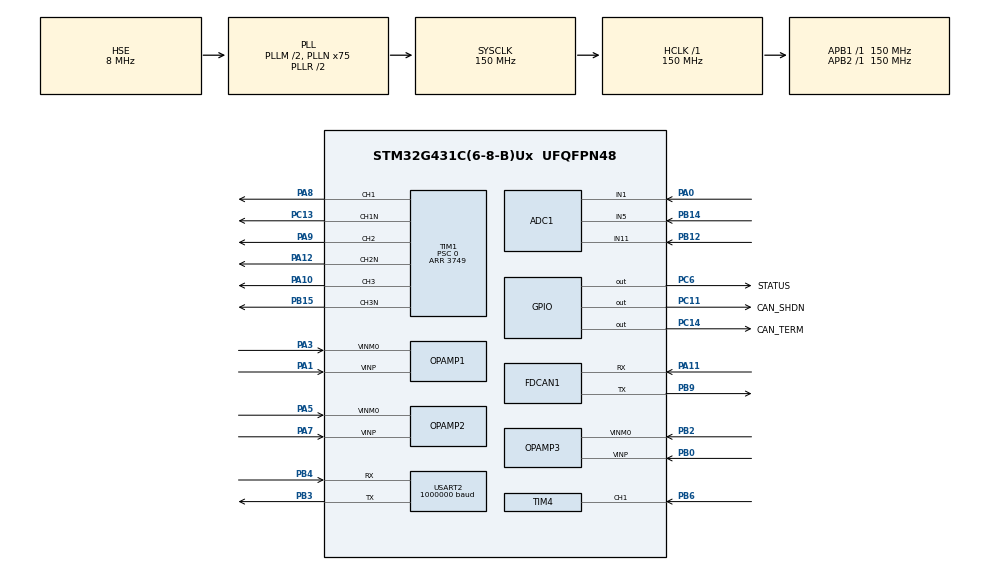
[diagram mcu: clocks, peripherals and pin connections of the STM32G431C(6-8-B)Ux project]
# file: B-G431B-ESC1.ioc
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ADC1.Channel-0\#ChannelRegularConversion=ADC_CHANNEL_VOPAMP1
ADC1.Channel-1\#ChannelRegularConversion=ADC_CHANNEL_VOPAMP1
ADC1.Channel-2\#ChannelRegularConversion=ADC_CHANNEL_11
ADC1.Channel-3\#ChannelRegularConversion=ADC_CHANNEL_1
ADC1.Channel-4\#ChannelRegularConversion=ADC_CHANNEL_5
ADC1.EOCSelection=ADC_EOC_SEQ_CONV
ADC1.ExternalTrigConv=ADC_EXTERNALTRIG_T1_TRGO
ADC1.NbrOfConversion=5
ADC1.NbrOfConversionFlag=1
ADC1.OffsetNumber-0\#ChannelRegularConversion=ADC_OFFSET_NONE
ADC1.OffsetNumber-1\#ChannelRegularConversion=ADC_OFFSET_NONE
ADC1.OffsetNumber-2\#ChannelRegularConversion=ADC_OFFSET_NONE
ADC1.OffsetNumber-3\#ChannelRegularConversion=ADC_OFFSET_NONE
ADC1.OffsetNumber-4\#ChannelRegularConversion=ADC_OFFSET_NONE
ADC1.Overrun=ADC_OVR_DATA_OVERWRITTEN
ADC1.Rank-0\#ChannelRegularConversion=1
ADC1.Rank-1\#ChannelRegularConversion=2
ADC1.Rank-2\#ChannelRegularConversion=3
ADC1.Rank-3\#ChannelRegularConversion=4
ADC1.Rank-4\#ChannelRegularConversion=5
ADC1.SamplingTime-0\#ChannelRegularConversion=ADC_SAMPLETIME_2CYCLES_5
ADC1.SamplingTime-1\#ChannelRegularConversion=ADC_SAMPLETIME_2CYCLES_5
ADC1.SamplingTime-2\#ChannelRegularConversion=ADC_SAMPLETIME_2CYCLES_5
ADC1.SamplingTime-3\#ChannelRegularConversion=ADC_SAMPLETIME_2CYCLES_5
ADC1.SamplingTime-4\#ChannelRegularConversion=ADC_SAMPLETIME_2CYCLES_5
ADC1.master=1
ADC2.Channel-0\#ChannelRegularConversion=ADC_CHANNEL_VOPAMP2
ADC2.Channel-1\#ChannelRegularConversion=ADC_CHANNEL_VOPAMP2
ADC2.Channel-2\#ChannelRegularConversion=ADC_CHANNEL_VOPAMP3_ADC2
ADC2.EOCSelection=ADC_EOC_SEQ_CONV
ADC2.ExternalTrigConv=ADC_EXTERNALTRIG_T1_TRGO
ADC2.NbrOfConversion=3
ADC2.NbrOfConversionFlag=1
ADC2.OffsetNumber-0\#ChannelRegularConversion=ADC_OFFSET_NONE
ADC2.OffsetNumber-1\#ChannelRegularConversion=ADC_OFFSET_NONE
ADC2.OffsetNumber-2\#ChannelRegularConversion=ADC_OFFSET_NONE
ADC2.Overrun=ADC_OVR_DATA_OVERWRITTEN
ADC2.Rank-0\#ChannelRegularConversion=1
ADC2.Rank-1\#ChannelRegularConversion=2
ADC2.Rank-2\#ChannelRegularConversion=3
ADC2.SamplingTime-0\#ChannelRegularConversion=ADC_SAMPLETIME_2CYCLES_5
ADC2.SamplingTime-1\#ChannelRegularConversion=ADC_SAMPLETIME_2CYCLES_5
ADC2.SamplingTime-2\#ChannelRegularConversion=ADC_SAMPLETIME_2CYCLES_5
Dma.ADC1.2.Direction=DMA_PERIPH_TO_MEMORY
Dma.ADC1.2.EventEnable=DISABLE
Dma.ADC1.2.Instance=DMA1_Channel3
Dma.ADC1.2.MemDataAlignment=DMA_MDATAALIGN_HALFWORD
Dma.ADC1.2.MemInc=DMA_MINC_ENABLE
Dma.ADC1.2.Mode=DMA_CIRCULAR
Dma.ADC1.2.PeriphDataAlignment=DMA_PDATAALIGN_HALFWORD
Dma.ADC1.2.PeriphInc=DMA_PINC_DISABLE
Dma.ADC1.2.Polarity=HAL_DMAMUX_REQ_GEN_RISING
Dma.ADC1.2.Priority=DMA_PRIORITY_LOW
Dma.ADC1.2.RequestNumber=1
Dma.ADC1.2.SignalID=NONE
Dma.ADC1.2.SyncEnable=DISABLE
Dma.ADC1.2.SyncPolarity=HAL_DMAMUX_SYNC_NO_EVENT
Dma.ADC1.2.SyncRequestNumber=1
Dma.ADC1.2.SyncSignalID=NONE
Dma.ADC2.3.Direction=DMA_PERIPH_TO_MEMORY
Dma.ADC2.3.EventEnable=DISABLE
Dma.ADC2.3.Instance=DMA1_Channel4
Dma.ADC2.3.MemDataAlignment=DMA_MDATAALIGN_HALFWORD
Dma.ADC2.3.MemInc=DMA_MINC_ENABLE
Dma.ADC2.3.Mode=DMA_CIRCULAR
Dma.ADC2.3.PeriphDataAlignment=DMA_PDATAALIGN_HALFWORD
Dma.ADC2.3.PeriphInc=DMA_PINC_DISABLE
Dma.ADC2.3.Polarity=HAL_DMAMUX_REQ_GEN_RISING
Dma.ADC2.3.Priority=DMA_PRIORITY_LOW
Dma.ADC2.3.RequestNumber=1
Dma.ADC2.3.SignalID=NONE
Dma.ADC2.3.SyncEnable=DISABLE
Dma.ADC2.3.SyncPolarity=HAL_DMAMUX_SYNC_NO_EVENT
Dma.ADC2.3.SyncRequestNumber=1
Dma.ADC2.3.SyncSignalID=NONE
Dma.Request0=USART2_RX
Dma.Request1=USART2_TX
Dma.Request2=ADC1
Dma.Request3=ADC2
Dma.USART2_RX.0.Direction=DMA_PERIPH_TO_MEMORY
Dma.USART2_RX.0.EventEnable=DISABLE
Dma.USART2_RX.0.Instance=DMA1_Channel1
Dma.USART2_RX.0.MemDataAlignment=DMA_MDATAALIGN_BYTE
Dma.USART2_RX.0.MemInc=DMA_MINC_ENABLE
Dma.USART2_RX.0.Mode=DMA_CIRCULAR
Dma.USART2_RX.0.PeriphDataAlignment=DMA_PDATAALIGN_BYTE
Dma.USART2_RX.0.PeriphInc=DMA_PINC_DISABLE
Dma.USART2_RX.0.Polarity=HAL_DMAMUX_REQ_GEN_RISING
Dma.USART2_RX.0.Priority=DMA_PRIORITY_LOW
Dma.USART2_RX.0.RequestNumber=1
Dma.USART2_RX.0.SignalID=NONE
Dma.USART2_RX.0.SyncEnable=DISABLE
Dma.USART2_RX.0.SyncPolarity=HAL_DMAMUX_SYNC_NO_EVENT
Dma.USART2_RX.0.SyncRequestNumber=1
Dma.USART2_RX.0.SyncSignalID=NONE
Dma.USART2_TX.1.Direction=DMA_MEMORY_TO_PERIPH
Dma.USART2_TX.1.EventEnable=DISABLE
Dma.USART2_TX.1.Instance=DMA1_Channel2
Dma.USART2_TX.1.MemDataAlignment=DMA_MDATAALIGN_BYTE
Dma.USART2_TX.1.MemInc=DMA_MINC_ENABLE
Dma.USART2_TX.1.Mode=DMA_NORMAL
Dma.USART2_TX.1.PeriphDataAlignment=DMA_PDATAALIGN_BYTE
Dma.USART2_TX.1.PeriphInc=DMA_PINC_DISABLE
Dma.USART2_TX.1.Polarity=HAL_DMAMUX_REQ_GEN_RISING
Dma.USART2_TX.1.Priority=DMA_PRIORITY_LOW
Dma.USART2_TX.1.RequestNumber=1
Dma.USART2_TX.1.SignalID=NONE
Dma.USART2_TX.1.SyncEnable=DISABLE
Dma.USART2_TX.1.SyncPolarity=HAL_DMAMUX_SYNC_NO_EVENT
Dma.USART2_TX.1.SyncRequestNumber=1
Dma.USART2_TX.1.SyncSignalID=NONE
Mcu.Family=STM32G4
Mcu.Name=STM32G431C(6-8-B)Ux
Mcu.Package=UFQFPN48
NVIC.ADC1_2_IRQn=true\:0\:0\:false\:false\:true\:true\:true
NVIC.CORDIC_IRQn=true\:0\:0\:false\:false\:true\:true\:true
NVIC.DMA1_Channel1_IRQn=true\:0\:0\:false\:false\:true\:false\:true
NVIC.DMA1_Channel2_IRQn=true\:0\:0\:false\:false\:true\:false\:true
NVIC.DMA1_Channel3_IRQn=true\:0\:0\:false\:false\:true\:false\:true
NVIC.DMA1_Channel4_IRQn=true\:0\:0\:false\:false\:true\:false\:true
NVIC.PriorityGroup=NVIC_PRIORITYGROUP_4
NVIC.TIM4_IRQn=true\:0\:0\:true\:false\:true\:true\:true
NVIC.USART2_IRQn=true\:0\:0\:false\:false\:true\:true\:true
OPAMP1.PgaGain=OPAMP_PGA_GAIN_16_OR_MINUS_15
OPAMP2.PgaGain=OPAMP_PGA_GAIN_16_OR_MINUS_15
OPAMP3.PgaGain=OPAMP_PGA_GAIN_16_OR_MINUS_15
PA0.Mode=IN1-Single-Ended
PA0.Signal=ADC1_IN1
PA1.Mode=PGA Internally connected_IO0_BIAS
PA1.Signal=OPAMP1_VINP
PA10.Signal=S_TIM1_CH3
PA11.Mode=FDCAN_Activate
PA11.Signal=FDCAN1_RX
PA12.Mode=PWM Generation2 CH2 CH2N
PA12.Signal=TIM1_CH2N
PA13.Mode=Serial_Wire
PA13.Signal=SYS_JTMS-SWDIO
PA14.Mode=Serial_Wire
PA14.Signal=SYS_JTCK-SWCLK
PA3.Mode=PGA Internally connected_IO0_BIAS
PA3.Signal=OPAMP1_VINM0
PA5.Mode=PGA Internally connected_IO0_BIAS
PA5.Signal=OPAMP2_VINM0
PA7.Mode=PGA Internally connected_IO0_BIAS
PA7.Signal=OPAMP2_VINP
PA8.Signal=S_TIM1_CH1
PA9.Signal=S_TIM1_CH2
PB0.Mode=PGA Internally connected_IO0_BIAS
PB0.Signal=OPAMP3_VINP
PB12.Mode=IN11-Single-Ended
PB12.Signal=ADC1_IN11
PB14.Mode=IN5-Single-Ended
PB14.Signal=ADC1_IN5
PB15.Mode=PWM Generation3 CH3 CH3N
PB15.Signal=TIM1_CH3N
PB2.Mode=PGA Internally connected_IO0_BIAS
PB2.Signal=OPAMP3_VINM0
PB3.Mode=Asynchronous
PB3.Signal=USART2_TX
PB4.Mode=Asynchronous
PB4.Signal=USART2_RX
PB6.Signal=S_TIM4_CH1
PB9.Mode=FDCAN_Activate
PB9.Signal=FDCAN1_TX
PC11.GPIO_Label=CAN_SHDN
PC11.Signal=GPIO_Output
PC13.Mode=PWM Generation1 CH1 CH1N
PC13.Signal=TIM1_CH1N
PC14-OSC32_IN.GPIO_Label=CAN_TERM
PC14-OSC32_IN.Signal=GPIO_Output
PC6.GPIO_Label=STATUS
PC6.Signal=GPIO_Output
PF0-OSC_IN.Mode=HSE-External-Oscillator
PF0-OSC_IN.Signal=RCC_OSC_IN
PF1-OSC_OUT.Mode=HSE-External-Oscillator
PF1-OSC_OUT.Signal=RCC_OSC_OUT
ProjectManager.HeapSize=0x200
ProjectManager.StackSize=0x400
ProjectManager.TargetToolchain=STM32CubeIDE
RCC.ADC12Freq_Value=150000000
RCC.AHBFreq_Value=150000000
RCC.APB1Freq_Value=150000000
RCC.APB1TimFreq_Value=150000000
RCC.APB2Freq_Value=150000000
RCC.APB2TimFreq_Value=150000000
RCC.CortexFreq_Value=150000000
RCC.EXTERNAL_CLOCK_VALUE=12288000
RCC.HCLKFreq_Value=150000000
RCC.HSE_VALUE=8000000
RCC.HSI48_VALUE=48000000
RCC.HSI_VALUE=16000000
RCC.LSE_VALUE=32768
RCC.PLLM=RCC_PLLM_DIV2
RCC.PLLN=75
RCC.PLLSourceVirtual=RCC_PLLSOURCE_HSE
RCC.SYSCLKFreq_VALUE=150000000
RCC.SYSCLKSource=RCC_SYSCLKSOURCE_PLLCLK
RCC.USBFreq_Value=150000000
RCC.VCOOutputFreq_Value=300000000
SH.S_TIM1_CH1.0=TIM1_CH1,PWM Generation1 CH1 CH1N
SH.S_TIM1_CH2.0=TIM1_CH2,PWM Generation2 CH2 CH2N
SH.S_TIM1_CH3.0=TIM1_CH3,PWM Generation3 CH3 CH3N
SH.S_TIM4_CH1.0=TIM4_CH1,PWM_Input_1
TIM1.Channel-PWM\ Generation1\ CH1\ CH1N=TIM_CHANNEL_1
TIM1.Channel-PWM\ Generation2\ CH2\ CH2N=TIM_CHANNEL_2
TIM1.Channel-PWM\ Generation3\ CH3\ CH3N=TIM_CHANNEL_3
TIM1.CounterMode=TIM_COUNTERMODE_CENTERALIGNED1
TIM1.DeadTime=128
TIM1.PeriodNoDither=3749
TIM1.Prescaler=0
TIM1.TIM_MasterOutputTrigger=TIM_TRGO_UPDATE
TIM4.ICPolarity_1=TIM_INPUTCHANNELPOLARITY_RISING
TIM4.Prescaler=2
TIM6.Prescaler=149
USART2.BaudRate=1000000
USART2.VirtualMode-Asynchronous=VM_ASYNC
VP_ADC1_OPAMP_INTERNAL1.Mode=IN-OPAMP1
VP_ADC2_OPAMP_INTERNAL2.Mode=IN-OPAMP2
VP_ADC2_OPAMP_INTERNAL3.Mode=IN-OPAMP3
VP_CORDIC_VS_CORDIC.Mode=CORDIC_Activate
VP_SYS_VS_DBSignals.Mode=DisableDeadBatterySignals
VP_TIM1_VS_ClockSourceINT.Mode=Internal
VP_TIM6_VS_ClockSourceINT.Mode=Enable_Timer
board=custom

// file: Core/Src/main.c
/* USER CODE BEGIN Header */
/**
  ******************************************************************************
  * @file           : main.c
  * @brief          : Main program body
  ******************************************************************************
  * @attention
  *
  * <h2><center>&copy; Copyright (c) 2021 STMicroelectronics.
  * All rights reserved.</center></h2>
  *
  * This software component is licensed by ST under BSD 3-Clause license,
  * the "License"; You may not use this file except in compliance with the
  * License. You may obtain a copy of the License at:
  *                        opensource.org/licenses/BSD-3-Clause
  *
  ******************************************************************************
  */
/* USER CODE END Header */
#include "main.h"

/* USER CODE BEGIN Includes */
#include "serial.h"
#include "position_sensor.h"
#include "foc.h"
#include "math_tool.h"
#include "pid.h"
#include "eeprom.h"
#include "protocol.h"
#include "control_table.h"
#include "binary_tool.h"

/* USER CODE END Includes */

/* USER CODE BEGIN PD */
#define ALPHA_VELOCITY				0.24f // (default:0.12) F = 1000Hz ==> Fc (-3dB) = 20Hz
#define ALPHA_CURRENT_SETPOINT 		0.48f // (default:0.12) F = 1000Hz ==> Fc (-3dB) = 20Hz

/* USER CODE END PD */

ADC_HandleTypeDef hadc1;
ADC_HandleTypeDef hadc2;
DMA_HandleTypeDef hdma_adc1;
DMA_HandleTypeDef hdma_adc2;

CORDIC_HandleTypeDef hcordic;

FDCAN_HandleTypeDef hfdcan1;

OPAMP_HandleTypeDef hopamp1;
OPAMP_HandleTypeDef hopamp2;
OPAMP_HandleTypeDef hopamp3;

TIM_HandleTypeDef htim1;
TIM_HandleTypeDef htim4;
TIM_HandleTypeDef htim6;

UART_HandleTypeDef huart2;
DMA_HandleTypeDef hdma_usart2_rx;
DMA_HandleTypeDef hdma_usart2_tx;

/* USER CODE BEGIN PV */
HAL_Serial_Handler serial;

extern float potentiometer_input_adc; // foc.c
extern float average_processing_time; // foc.c
extern float present_voltage_V; // foc.c
extern float present_temperature_C; // foc.c

/* USER CODE END PV */

void SystemClock_Config(void);
static void MX_GPIO_Init(void);
static void MX_DMA_Init(void);
static void MX_TIM4_Init(void);
static void MX_USART2_UART_Init(void);
static void MX_TIM1_Init(void);
static void MX_ADC1_Init(void);
static void MX_ADC2_Init(void);
static void MX_OPAMP1_Init(void);
static void MX_OPAMP2_Init(void);
static void MX_OPAMP3_Init(void);
static void MX_CORDIC_Init(void);
static void MX_TIM6_Init(void);
static void MX_FDCAN1_Init(void);

/* USER CODE BEGIN 0 */
void HAL_TIM_IC_CaptureCallback(TIM_HandleTypeDef *htim)
{
	API_AS5048A_Position_Sensor_It(htim);
}

// current sense
// TODO: add OC4 with short pulse to start ADC en OC4 EVENT, a little time before UPDATE
void HAL_ADC_ConvCpltCallback(ADC_HandleTypeDef *hadc)
{
	API_FOC_It(hadc);
}

/* USER CODE END 0 */

int main(void)
{

  /* MCU Configuration--------------------------------------------------------*/

  /* Reset of all peripherals, Initializes the Flash interface and the Systick. */
  HAL_Init();

  /* Configure the system clock */
  SystemClock_Config();

  /* Initialize all configured peripherals */
  MX_GPIO_Init();
  MX_DMA_Init();
  MX_TIM4_Init();
  MX_USART2_UART_Init();
  MX_TIM1_Init();
  MX_ADC1_Init();
  MX_ADC2_Init();
  MX_OPAMP1_Init();
  MX_OPAMP2_Init();
  MX_OPAMP3_Init();
  MX_CORDIC_Init();
  MX_TIM6_Init();
  MX_FDCAN1_Init();
  /* USER CODE BEGIN 2 */
  HAL_TIM_Base_Start(&htim6); // 1us base timer
  uint16_t present_time_us = __HAL_TIM_GET_COUNTER(&htim6);
  uint16_t last_time_us = present_time_us;
  API_FOC_Init();
  HAL_Serial_Init(&huart2,&serial);
  HAL_Serial_Print(&serial,"RESET!\n");
	if(eeprom_empty())
		factory_reset_eeprom_regs();
	load_eeprom_regs();
	reset_ram_regs();
  //API_FOC_Calibrate();
  /* USER CODE END 2 */

  /* Infinite loop */
  /* USER CODE BEGIN WHILE */
	float setpoint_position_deg = 0.0f;
	float setpoint_velocity_dps = 0.0f;
	float setpoint_torque_current_mA = 0.0f;
	float setpoint_flux_current_mA = 0.0f;
	uint16_t last_mode = regs[REG_CONTROL_MODE];
	pid_context_t pid_velocity;
	pid_context_t pid_position;
	pid_reset(&pid_position);
	pid_reset(&pid_velocity);

  while (1)
  {
    /* USER CODE END WHILE */

    /* USER CODE BEGIN 3 */
	// Handle communication
	while(HAL_Serial_Available(&serial))
	{
	  char c = HAL_Serial_GetChar(&serial);
	  packet_handler(c);
	}

	// 1Khz low priority process
	#define MAIN_LOO_PERIOD_US 900
	present_time_us = __HAL_TIM_GET_COUNTER(&htim6);
	int16_t const delta_time_us = present_time_us-last_time_us;
	if(delta_time_us>=MAIN_LOO_PERIOD_US)
	{
		last_time_us+=MAIN_LOO_PERIOD_US;
		// make alias
		uint16_t const reg_control_mode = regs[REG_CONTROL_MODE];
		// process operating mode
		switch(reg_control_mode)
		{
		case REG_CONTROL_MODE_POSITION_VELOCITY_TORQUE_VELOCITY_PROFIL:
			if(last_mode!=REG_CONTROL_MODE_POSITION_VELOCITY_TORQUE_VELOCITY_PROFIL)
			{
				// nop
			}
			{
				//float const goal_position_deg = (int16_t)(MAKE_SHORT(regs[REG_GOAL_POSITION_DEG_L],regs[REG_GOAL_POSITION_DEG_H]));
				setpoint_position_deg = 0.0f;
				setpoint_velocity_dps = 0.0f;
				setpoint_torque_current_mA=0.0f;
				setpoint_flux_current_mA=0.0f;
			}
			break;
		case REG_CONTROL_MODE_POSITION_VELOCITY_TORQUE:
			if(last_mode!=REG_CONTROL_MODE_POSITION_VELOCITY_TORQUE)
			{
				pid_reset(&pid_position);
				pid_reset(&pid_velocity);
				// copy EEPROM to RAM
				regs[REG_GOAL_VELOCITY_DPS_L] = regs[REG_MAX_VELOCITY_DPS_L];
				regs[REG_GOAL_VELOCITY_DPS_H] = regs[REG_MAX_VELOCITY_DPS_H];
				regs[REG_GOAL_TORQUE_CURRENT_MA_L] = regs[REG_MAX_CURRENT_MA_L];
				regs[REG_GOAL_TORQUE_CURRENT_MA_H] = regs[REG_MAX_CURRENT_MA_H];
				// reset unused RAM
				regs[REG_GOAL_FLUX_CURRENT_MA_L] = 0;
				regs[REG_GOAL_FLUX_CURRENT_MA_H] = 0;
				// set goal to current position to avoid glicth
				regs[REG_GOAL_POSITION_DEG_L] = LOW_BYTE((int16_t)(10.0f*RADIANS_TO_DEGREES(API_AS5048A_Position_Sensor_Get_Multiturn_Radians())));
				regs[REG_GOAL_POSITION_DEG_H] = HIGH_BYTE((int16_t)(10.0f*RADIANS_TO_DEGREES(API_AS5048A_Position_Sensor_Get_Multiturn_Radians())));
				// reset filtered setpoint
				setpoint_velocity_dps = 0.0f;
				setpoint_torque_current_mA = 0.0f;
			}
			{
				// compute position setpoint from goal and EEPROM velocity limit
				float const goal_position_deg = (float)((int16_t)(MAKE_SHORT(regs[REG_GOAL_POSITION_DEG_L],regs[REG_GOAL_POSITION_DEG_H])))/10.0f;
				float const reg_min_position_deg = (float)((int16_t)(MAKE_SHORT(regs[REG_MIN_POSITION_DEG_L],regs[REG_MIN_POSITION_DEG_H])));
				float const reg_max_position_deg = (float)((int16_t)(MAKE_SHORT(regs[REG_MAX_POSITION_DEG_L],regs[REG_MAX_POSITION_DEG_H])));
				setpoint_position_deg = fconstrain(goal_position_deg,reg_min_position_deg,reg_max_position_deg);
				// compute positiony error
				float const error_position_deg = setpoint_position_deg-RADIANS_TO_DEGREES(API_AS5048A_Position_Sensor_Get_Multiturn_Radians());
				// compute velocity setpoint using PID position and EEPROM velocity limit
				float const goal_velocity_dps = (int16_t)(MAKE_SHORT(regs[REG_GOAL_VELOCITY_DPS_L],regs[REG_GOAL_VELOCITY_DPS_H]));
				float const reg_max_velocity_dps = (uint16_t)(MAKE_SHORT(regs[REG_MAX_VELOCITY_DPS_L],regs[REG_MAX_VELOCITY_DPS_H]));
				setpoint_velocity_dps = ALPHA_VELOCITY*pid_process_antiwindup_clamp_with_ff(
						&pid_position,
						error_position_deg,
						(float)((int16_t)(MAKE_SHORT(regs[REG_PID_POSITION_KP_L],regs[REG_PID_POSITION_KP_H])))/1.0f,
						(float)((int16_t)(MAKE_SHORT(regs[REG_PID_POSITION_KI_L],regs[REG_PID_POSITION_KI_H])))/100.0f,
						(float)((int16_t)(MAKE_SHORT(regs[REG_PID_POSITION_KD_L],regs[REG_PID_POSITION_KD_H])))/1.0f,
						fminf(goal_velocity_dps,reg_max_velocity_dps), // limit is the lowest limit from goal and EEPROM
						0.1f,// ALPHA D
						0.0f // FF
				) + (1.0f-ALPHA_VELOCITY)*setpoint_velocity_dps;
				// compute velocity error
				float const error_velocity_dps = setpoint_velocity_dps-API_FOC_Get_Present_Velocity();
				// compute torque current setpoint using PID velocity, current is limited bt goal current and EEPROM current limit
				float const goal_torque_current_mA=(int16_t)(MAKE_SHORT(regs[REG_GOAL_TORQUE_CURRENT_MA_L],regs[REG_GOAL_TORQUE_CURRENT_MA_H]));
				float const reg_max_current_ma = (uint16_t)(MAKE_SHORT(regs[REG_MAX_CURRENT_MA_L],regs[REG_MAX_CURRENT_MA_H]));
				float const reg_reverse_current = regs[REG_INV_CURRENT_MOTOR] == 0 ? 1.0f : -1.0f;
				setpoint_torque_current_mA = ALPHA_CURRENT_SETPOINT*reg_reverse_current*pid_process_antiwindup_clamp_with_ff(
						&pid_velocity,
						error_velocity_dps,
						(float)((int16_t)(MAKE_SHORT(regs[REG_PID_VELOCITY_KP_L],regs[REG_PID_VELOCITY_KP_H])))/1000.0f,
						(float)((int16_t)(MAKE_SHORT(regs[REG_PID_VELOCITY_KI_L],regs[REG_PID_VELOCITY_KI_H])))/100000.0f,
						(float)((int16_t)(MAKE_SHORT(regs[REG_PID_VELOCITY_KD_L],regs[REG_PID_VELOCITY_KD_H])))/1000.0f,
						fminf(goal_torque_current_mA,reg_max_current_ma), // current limit is the lowest limit from goal and EEPROM
						0.1f,// ALPHA D
						setpoint_velocity_dps*(float)((int16_t)(MAKE_SHORT(regs[REG_PID_VELOCITY_KFF_L],regs[REG_PID_VELOCITY_KFF_H])))/1000.0f
				) + (1.0f-ALPHA_CURRENT_SETPOINT)*setpoint_torque_current_mA;
				// in this operating mode, flux current is forced to 0
				setpoint_flux_current_mA=0.0f;
			}
			break;
		case REG_CONTROL_MODE_VELOCITY_TORQUE:
			if(last_mode!=REG_CONTROL_MODE_VELOCITY_TORQUE)
			{
				pid_reset(&pid_velocity);
				// copy EEPROM to RAM
				regs[REG_GOAL_TORQUE_CURRENT_MA_L] = regs[REG_MAX_CURRENT_MA_L];
				regs[REG_GOAL_TORQUE_CURRENT_MA_H] = regs[REG_MAX_CURRENT_MA_H];
				// reset unused RAM
				regs[REG_GOAL_FLUX_CURRENT_MA_L] = 0;
				regs[REG_GOAL_FLUX_CURRENT_MA_H] = 0;
				regs[REG_GOAL_POSITION_DEG_L] = 0;
				regs[REG_GOAL_POSITION_DEG_H] = 0;
				// reset goal to avoid glicth
				regs[REG_GOAL_VELOCITY_DPS_L] = 0;
				regs[REG_GOAL_VELOCITY_DPS_H] = 0;
				// reset filtered setpoint
				setpoint_torque_current_mA = 0.0f;
			}
			{
				setpoint_position_deg = 0.0f;
				// compute velocity setpoint from goal and EEPROM velocity limit
				float const goal_velocity_dps = (int16_t)(MAKE_SHORT(regs[REG_GOAL_VELOCITY_DPS_L],regs[REG_GOAL_VELOCITY_DPS_H]));
				float const reg_max_velocity_dps = (uint16_t)(MAKE_SHORT(regs[REG_MAX_VELOCITY_DPS_L],regs[REG_MAX_VELOCITY_DPS_H]));
				setpoint_velocity_dps = fconstrain(goal_velocity_dps,-reg_max_velocity_dps,reg_max_velocity_dps);
				// compute velocity error
				float const error_velocity_dps = setpoint_velocity_dps-API_FOC_Get_Present_Velocity();
				// compute torque current setpoint using PID velocity, current is limited bt goal current and EEPROM current limit
				float const goal_torque_current_mA=(int16_t)(MAKE_SHORT(regs[REG_GOAL_TORQUE_CURRENT_MA_L],regs[REG_GOAL_TORQUE_CURRENT_MA_H]));
				float const reg_max_current_ma = (uint16_t)(MAKE_SHORT(regs[REG_MAX_CURRENT_MA_L],regs[REG_MAX_CURRENT_MA_H]));
				float const reg_reverse_current = regs[REG_INV_CURRENT_MOTOR] == 0 ? 1.0f : -1.0f;
				setpoint_torque_current_mA = ALPHA_CURRENT_SETPOINT*reg_reverse_current*pid_process_antiwindup_clamp_with_ff(
						&pid_velocity,
						error_velocity_dps,
						(float)((int16_t)(MAKE_SHORT(regs[REG_PID_VELOCITY_KP_L],regs[REG_PID_VELOCITY_KP_H])))/1000.0f,
						(float)((int16_t)(MAKE_SHORT(regs[REG_PID_VELOCITY_KI_L],regs[REG_PID_VELOCITY_KI_H])))/100000.0f,
						(float)((int16_t)(MAKE_SHORT(regs[REG_PID_VELOCITY_KD_L],regs[REG_PID_VELOCITY_KD_H])))/1000.0f,
						fminf(goal_torque_current_mA,reg_max_current_ma), // current limit is the lowest limit from goal and EEPROM
						0.1f,// ALPHA D
						setpoint_velocity_dps*(float)((int16_t)(MAKE_SHORT(regs[REG_PID_VELOCITY_KFF_L],regs[REG_PID_VELOCITY_KFF_H])))/1000.0f
				) + (1.0f-ALPHA_CURRENT_SETPOINT)*setpoint_torque_current_mA;
				// in this operating mode, flux current is forced to 0
				setpoint_flux_current_mA=0.0f;
			}
			break;
		case REG_CONTROL_MODE_TORQUE:
			if(last_mode!=REG_CONTROL_MODE_TORQUE)
			{
				// reset unused RAM
				regs[REG_GOAL_POSITION_DEG_L] = 0;
				regs[REG_GOAL_POSITION_DEG_H] = 0;
				regs[REG_GOAL_VELOCITY_DPS_L] = 0;
				regs[REG_GOAL_VELOCITY_DPS_H] = 0;
				// reset goal to avoid glicth
				regs[REG_GOAL_TORQUE_CURRENT_MA_L] = 0;
				regs[REG_GOAL_TORQUE_CURRENT_MA_H] = 0;
				regs[REG_GOAL_FLUX_CURRENT_MA_L] = 0;
				regs[REG_GOAL_FLUX_CURRENT_MA_H] = 0;
			}
			{
				setpoint_position_deg = 0.0f;
				setpoint_velocity_dps = 0.0f;
				// compute flux & torque current setpoints, from goals and EEPROM current limit
				float const goal_torque_current_mA=(int16_t)(MAKE_SHORT(regs[REG_GOAL_TORQUE_CURRENT_MA_L],regs[REG_GOAL_TORQUE_CURRENT_MA_H]));
				float const goal_flux_current_mA=(int16_t)(MAKE_SHORT(regs[REG_GOAL_FLUX_CURRENT_MA_L],regs[REG_GOAL_FLUX_CURRENT_MA_H]));
				float const reg_max_current_ma = (uint16_t)(MAKE_SHORT(regs[REG_MAX_CURRENT_MA_L],regs[REG_MAX_CURRENT_MA_H]));
				setpoint_flux_current_mA = fconstrain(goal_flux_current_mA,-reg_max_current_ma,reg_max_current_ma);
				setpoint_torque_current_mA = fconstrain(goal_torque_current_mA,-reg_max_current_ma,reg_max_current_ma);
			}
			break;
		case REG_CONTROL_MODE_VELOCITY_TORQUE_OPEN_LOOP:
			{
				if(last_mode!=REG_CONTROL_MODE_VELOCITY_TORQUE_OPEN_LOOP)
				{
					// reset unused RAM
					regs[REG_GOAL_POSITION_DEG_L] = 0;
					regs[REG_GOAL_POSITION_DEG_H] = 0;
					regs[REG_GOAL_TORQUE_CURRENT_MA_L] = 0;
					regs[REG_GOAL_TORQUE_CURRENT_MA_H] = 0;
					// reset goal to avoid glicth
					regs[REG_GOAL_VELOCITY_DPS_L] = 0;
					regs[REG_GOAL_VELOCITY_DPS_H] = 0;
					regs[REG_GOAL_FLUX_CURRENT_MA_L] = 0;
					regs[REG_GOAL_FLUX_CURRENT_MA_H] = 0;
				}
				setpoint_velocity_dps = (int16_t)(MAKE_SHORT(regs[REG_GOAL_VELOCITY_DPS_L],regs[REG_GOAL_VELOCITY_DPS_H]));
				setpoint_flux_current_mA = (int16_t)(MAKE_SHORT(regs[REG_GOAL_FLUX_CURRENT_MA_L],regs[REG_GOAL_FLUX_CURRENT_MA_H]));
			}
			break;
		default:
			// reset unused RAM
			regs[REG_GOAL_POSITION_DEG_L] = 0;
			regs[REG_GOAL_POSITION_DEG_H] = 0;
			regs[REG_GOAL_VELOCITY_DPS_L] = 0;
			regs[REG_GOAL_VELOCITY_DPS_H] = 0;
			regs[REG_GOAL_TORQUE_CURRENT_MA_L] = 0;
			regs[REG_GOAL_TORQUE_CURRENT_MA_H] = 0;
			regs[REG_GOAL_FLUX_CURRENT_MA_L] = 0;
			regs[REG_GOAL_FLUX_CURRENT_MA_H] = 0;
			// reset all setpoints
			setpoint_position_deg = 0.0f;
			setpoint_velocity_dps = 0.0f;
			setpoint_torque_current_mA=0.0f;
			setpoint_flux_current_mA=0.0f;
			break;
		}
		last_mode = reg_control_mode;
		// PERFORMANCE
		//uint16_t t_end = __HAL_TIM_GET_COUNTER(&htim6);

		// RAM Update
		regs[REG_PRESENT_POSITION_DEG_L] = LOW_BYTE((int16_t)(RADIANS_TO_DEGREES(API_AS5048A_Position_Sensor_Get_Multiturn_Radians())*10.0f));
		regs[REG_PRESENT_POSITION_DEG_H] = HIGH_BYTE((int16_t)(RADIANS_TO_DEGREES(API_AS5048A_Position_Sensor_Get_Multiturn_Radians())*10.0f));
		regs[REG_PRESENT_VELOCITY_DPS_L] = LOW_BYTE((int16_t)(API_AS5048A_Position_Sensor_Get_DPS()*1.0f));
		regs[REG_PRESENT_VELOCITY_DPS_H] = HIGH_BYTE((int16_t)(API_AS5048A_Position_Sensor_Get_DPS()*1.0f));
		regs[REG_PRESENT_TORQUE_CURRENT_MA_L] = LOW_BYTE((int16_t)(API_FOC_Get_Present_Torque_Current()*1.0f));
		regs[REG_PRESENT_TORQUE_CURRENT_MA_H] = HIGH_BYTE((int16_t)(API_FOC_Get_Present_Torque_Current()*1.0f));
		regs[REG_PRESENT_FLUX_CURRENT_MA_L] = LOW_BYTE((int16_t)(API_FOC_Get_Present_Flux_Current()*1.0f));
		regs[REG_PRESENT_FLUX_CURRENT_MA_H] = HIGH_BYTE((int16_t)(API_FOC_Get_Present_Flux_Current()*1.0f));
		regs[REG_PRESENT_VOLTAGE] = (uint16_t)(present_voltage_V);
		regs[REG_PRESENT_TEMPERATURE] = (uint16_t)(present_temperature_C);
		regs[REG_MOVING] = (uint16_t)(fabsf(API_AS5048A_Position_Sensor_Get_DPS())) > (uint16_t)(regs[REG_MOVING_THRESHOLD_DPS]) ? 1 : 0;

		// DEBUG RAM Update
		regs[REG_SETPOINT_POSITION_DEG_L] = LOW_BYTE((int16_t)(setpoint_position_deg*10.0f));
		regs[REG_SETPOINT_POSITION_DEG_H] = HIGH_BYTE((int16_t)(setpoint_position_deg*10.0f));
		regs[REG_SETPOINT_VELOCITY_DPS_L] = LOW_BYTE((int16_t)(setpoint_velocity_dps*1.0f));
		regs[REG_SETPOINT_VELOCITY_DPS_H] = HIGH_BYTE((int16_t)(setpoint_velocity_dps*1.0f));
		regs[REG_SETPOINT_TORQUE_CURRENT_MA_L] = LOW_BYTE((int16_t)(setpoint_torque_current_mA*1.0f));
		regs[REG_SETPOINT_TORQUE_CURRENT_MA_H] = HIGH_BYTE((int16_t)(setpoint_torque_current_mA*1.0f));
		regs[REG_SETPOINT_FLUX_CURRENT_MA_L] = LOW_BYTE((int16_t)(setpoint_flux_current_mA*1.0f));
		regs[REG_SETPOINT_FLUX_CURRENT_MA_H] = HIGH_BYTE((int16_t)(setpoint_flux_current_mA*1.0f));
		regs[REG_PROCESSING_TIME] = (uint8_t)(average_processing_time);

		// TRACE
		static uint32_t counter = 0;
		if(((++counter)%4)==0)
		{
//		  HAL_GPIO_TogglePin(STATUS_GPIO_Port, STATUS_Pin);
//			HAL_Serial_Print(&serial,"%d %d %d\n",
//					(int)(RADIANS_TO_DEGREES(API_AS5048A_Position_Sensor_Get_Radians())),
//					(int)(RADIANS_TO_DEGREES(API_AS5048A_Position_Sensor_Get_Multiturn_Radians())),
//					(int)(API_AS5048A_Position_Sensor_Get_DPS())
//				);
//		  			HAL_Serial_Print(&serial,"%d %d %d %d %d\n",
//		  					(int)(RADIANS_TO_DEGREES(API_AS5048A_Position_Sensor_Get_Radians())),
//							//(int)(RADIANS_TO_DEGREES(API_AS5048A_Position_Sensor_Get_Multiturn_Radians())),
//							(int)(API_AS5048A_Position_Sensor_Get_DPS()),
//							(int)(API_AS5048A_Position_Sensor_Get_DeltaTimestamp()),
//							(int)(RADIANS_TO_DEGREES(API_AS5048A_Position_Sensor_Get_DeltaRad()*1000)),
//							(int)(API_AS5048A_Position_Sensor_Error_Counter())
//						);
//			HAL_Serial_Print(&serial,"%d %d %d %d\n",
//					(int)(setpoint_velocity_dps),
//					(int)(API_FOC_Get_Present_Velocity()),
//					(int)(setpoint_torque_current_mA),
//					(int)(sqrtf(API_FOC_Get_Present_Current_SQ()))
//				);
//			HAL_Serial_Print(&serial,"%d %d %d %d\n",
//						(int)(setpoint_position_deg),
//						(int)(RADIANS_TO_DEGREES(API_AS5048A_Position_Sensor_Get_Multiturn_Radians())),
//						(int)(setpoint_velocity_dps),
//						(int)(setpoint_torque_current_mA)
//					);
//			HAL_Serial_Print(&serial,"%d %d %d\n",
//						(int)(setpoint_velocity_dps),
//						(int)(API_FOC_Get_Present_Velocity()),
//						(int)(setpoint_torque_current_mA)
//					);
//			HAL_Serial_Print(&serial,"%d %d %d\n",
//						(int)(setpoint_torque_current_mA),
//						(int)(API_FOC_Get_Present_Torque_Current()),
//						(int)(API_FOC_Get_Present_Flux_Current())
//					);
		}
	}
	// synchro adjustment
	float const phase_synchro_offset_rad = DEGREES_TO_RADIANS((float)(MAKE_SHORT(regs[REG_GOAL_SYNCHRO_OFFSET_L],regs[REG_GOAL_SYNCHRO_OFFSET_H])));
	// FOC update (every 250us when current drop rate is set to 4)
	if(regs[REG_CONTROL_MODE]==REG_CONTROL_MODE_VELOCITY_TORQUE_OPEN_LOOP)
	{
		API_FOC_Update_Torque_Open_Loop(
			present_time_us,
			setpoint_velocity_dps,
			setpoint_flux_current_mA
		);
	}
	else
	{
		API_FOC_Update_Torque_Closed_Loop(
			present_time_us,
			setpoint_torque_current_mA,
			setpoint_flux_current_mA,
			phase_synchro_offset_rad,
			regs[REG_GOAL_CLOSED_LOOP] // open loop if 0, closed loop if 1
		);
	}
  }
  /* USER CODE END 3 */
}

void SystemClock_Config(void)
{
  RCC_OscInitTypeDef RCC_OscInitStruct = {0};
  RCC_ClkInitTypeDef RCC_ClkInitStruct = {0};
  RCC_PeriphCLKInitTypeDef PeriphClkInit = {0};

  /** Configure the main internal regulator output voltage
  */
  HAL_PWREx_ControlVoltageScaling(PWR_REGULATOR_VOLTAGE_SCALE1);
  /** Initializes the RCC Oscillators according to the specified parameters
  * in the RCC_OscInitTypeDef structure.
  */
  RCC_OscInitStruct.OscillatorType = RCC_OSCILLATORTYPE_HSE;
  RCC_OscInitStruct.HSEState = RCC_HSE_ON;
  RCC_OscInitStruct.PLL.PLLState = RCC_PLL_ON;
  RCC_OscInitStruct.PLL.PLLSource = RCC_PLLSOURCE_HSE;
  RCC_OscInitStruct.PLL.PLLM = RCC_PLLM_DIV2;
  RCC_OscInitStruct.PLL.PLLN = 75;
  RCC_OscInitStruct.PLL.PLLP = RCC_PLLP_DIV2;
  RCC_OscInitStruct.PLL.PLLQ = RCC_PLLQ_DIV2;
  RCC_OscInitStruct.PLL.PLLR = RCC_PLLR_DIV2;
  if (HAL_RCC_OscConfig(&RCC_OscInitStruct) != HAL_OK)
  {
    Error_Handler();
  }
  /** Initializes the CPU, AHB and APB buses clocks
  */
  RCC_ClkInitStruct.ClockType = RCC_CLOCKTYPE_HCLK|RCC_CLOCKTYPE_SYSCLK
                              |RCC_CLOCKTYPE_PCLK1|RCC_CLOCKTYPE_PCLK2;
  RCC_ClkInitStruct.SYSCLKSource = RCC_SYSCLKSOURCE_PLLCLK;
  RCC_ClkInitStruct.AHBCLKDivider = RCC_SYSCLK_DIV1;
  RCC_ClkInitStruct.APB1CLKDivider = RCC_HCLK_DIV1;
  RCC_ClkInitStruct.APB2CLKDivider = RCC_HCLK_DIV1;

  if (HAL_RCC_ClockConfig(&RCC_ClkInitStruct, FLASH_LATENCY_4) != HAL_OK)
  {
    Error_Handler();
  }
  /** Initializes the peripherals clocks
  */
  PeriphClkInit.PeriphClockSelection = RCC_PERIPHCLK_USART2|RCC_PERIPHCLK_ADC12
                              |RCC_PERIPHCLK_FDCAN;
  PeriphClkInit.Usart2ClockSelection = RCC_USART2CLKSOURCE_PCLK1;
  PeriphClkInit.FdcanClockSelection = RCC_FDCANCLKSOURCE_PCLK1;
  PeriphClkInit.Adc12ClockSelection = RCC_ADC12CLKSOURCE_SYSCLK;
  if (HAL_RCCEx_PeriphCLKConfig(&PeriphClkInit) != HAL_OK)
  {
    Error_Handler();
  }
}

static void MX_ADC1_Init(void)
{

  ADC_MultiModeTypeDef multimode = {0};
  ADC_ChannelConfTypeDef sConfig = {0};

  /** Common config
  */
  hadc1.Instance = ADC1;
  hadc1.Init.ClockPrescaler = ADC_CLOCK_SYNC_PCLK_DIV4;
  hadc1.Init.Resolution = ADC_RESOLUTION_12B;
  hadc1.Init.DataAlign = ADC_DATAALIGN_RIGHT;
  hadc1.Init.GainCompensation = 0;
  hadc1.Init.ScanConvMode = ADC_SCAN_ENABLE;
  hadc1.Init.EOCSelection = ADC_EOC_SEQ_CONV;
  hadc1.Init.LowPowerAutoWait = DISABLE;
  hadc1.Init.ContinuousConvMode = DISABLE;
  hadc1.Init.NbrOfConversion = 5;
  hadc1.Init.DiscontinuousConvMode = DISABLE;
  hadc1.Init.ExternalTrigConv = ADC_EXTERNALTRIG_T1_TRGO;
  hadc1.Init.ExternalTrigConvEdge = ADC_EXTERNALTRIGCONVEDGE_RISING;
  hadc1.Init.DMAContinuousRequests = DISABLE;
  hadc1.Init.Overrun = ADC_OVR_DATA_OVERWRITTEN;
  hadc1.Init.OversamplingMode = DISABLE;
  if (HAL_ADC_Init(&hadc1) != HAL_OK)
  {
    Error_Handler();
  }
  /** Configure the ADC multi-mode
  */
  multimode.Mode = ADC_MODE_INDEPENDENT;
  if (HAL_ADCEx_MultiModeConfigChannel(&hadc1, &multimode) != HAL_OK)
  {
    Error_Handler();
  }
  /** Configure Regular Channel
  */
  sConfig.Channel = ADC_CHANNEL_VOPAMP1;
  sConfig.Rank = ADC_REGULAR_RANK_1;
  sConfig.SamplingTime = ADC_SAMPLETIME_2CYCLES_5;
  sConfig.SingleDiff = ADC_SINGLE_ENDED;
  sConfig.OffsetNumber = ADC_OFFSET_NONE;
  sConfig.Offset = 0;
  if (HAL_ADC_ConfigChannel(&hadc1, &sConfig) != HAL_OK)
  {
    Error_Handler();
  }
  /** Configure Regular Channel
  */
  sConfig.Rank = ADC_REGULAR_RANK_2;
  if (HAL_ADC_ConfigChannel(&hadc1, &sConfig) != HAL_OK)
  {
    Error_Handler();
  }
  /** Configure Regular Channel
  */
  sConfig.Channel = ADC_CHANNEL_11;
  sConfig.Rank = ADC_REGULAR_RANK_3;
  if (HAL_ADC_ConfigChannel(&hadc1, &sConfig) != HAL_OK)
  {
    Error_Handler();
  }
  /** Configure Regular Channel
  */
  sConfig.Channel = ADC_CHANNEL_1;
  sConfig.Rank = ADC_REGULAR_RANK_4;
  if (HAL_ADC_ConfigChannel(&hadc1, &sConfig) != HAL_OK)
  {
    Error_Handler();
  }
  /** Configure Regular Channel
  */
  sConfig.Channel = ADC_CHANNEL_5;
  sConfig.Rank = ADC_REGULAR_RANK_5;
  if (HAL_ADC_ConfigChannel(&hadc1, &sConfig) != HAL_OK)
  {
    Error_Handler();
  }

}

static void MX_ADC2_Init(void)
{

  ADC_ChannelConfTypeDef sConfig = {0};

  /** Common config
  */
  hadc2.Instance = ADC2;
  hadc2.Init.ClockPrescaler = ADC_CLOCK_SYNC_PCLK_DIV4;
  hadc2.Init.Resolution = ADC_RESOLUTION_12B;
  hadc2.Init.DataAlign = ADC_DATAALIGN_RIGHT;
  hadc2.Init.GainCompensation = 0;
  hadc2.Init.ScanConvMode = ADC_SCAN_ENABLE;
  hadc2.Init.EOCSelection = ADC_EOC_SEQ_CONV;
  hadc2.Init.LowPowerAutoWait = DISABLE;
  hadc2.Init.ContinuousConvMode = DISABLE;
  hadc2.Init.NbrOfConversion = 3;
  hadc2.Init.DiscontinuousConvMode = DISABLE;
  hadc2.Init.ExternalTrigConv = ADC_EXTERNALTRIG_T1_TRGO;
  hadc2.Init.ExternalTrigConvEdge = ADC_EXTERNALTRIGCONVEDGE_RISING;
  hadc2.Init.DMAContinuousRequests = DISABLE;
  hadc2.Init.Overrun = ADC_OVR_DATA_OVERWRITTEN;
  hadc2.Init.OversamplingMode = DISABLE;
  if (HAL_ADC_Init(&hadc2) != HAL_OK)
  {
    Error_Handler();
  }
  /** Configure Regular Channel
  */
  sConfig.Channel = ADC_CHANNEL_VOPAMP2;
  sConfig.Rank = ADC_REGULAR_RANK_1;
  sConfig.SamplingTime = ADC_SAMPLETIME_2CYCLES_5;
  sConfig.SingleDiff = ADC_SINGLE_ENDED;
  sConfig.OffsetNumber = ADC_OFFSET_NONE;
  sConfig.Offset = 0;
  if (HAL_ADC_ConfigChannel(&hadc2, &sConfig) != HAL_OK)
  {
    Error_Handler();
  }
  /** Configure Regular Channel
  */
  sConfig.Rank = ADC_REGULAR_RANK_2;
  if (HAL_ADC_ConfigChannel(&hadc2, &sConfig) != HAL_OK)
  {
    Error_Handler();
  }
  /** Configure Regular Channel
  */
  sConfig.Channel = ADC_CHANNEL_VOPAMP3_ADC2;
  sConfig.Rank = ADC_REGULAR_RANK_3;
  if (HAL_ADC_ConfigChannel(&hadc2, &sConfig) != HAL_OK)
  {
    Error_Handler();
  }

}

static void MX_CORDIC_Init(void)
{

  hcordic.Instance = CORDIC;
  if (HAL_CORDIC_Init(&hcordic) != HAL_OK)
  {
    Error_Handler();
  }

}

static void MX_FDCAN1_Init(void)
{

  hfdcan1.Instance = FDCAN1;
  hfdcan1.Init.ClockDivider = FDCAN_CLOCK_DIV1;
  hfdcan1.Init.FrameFormat = FDCAN_FRAME_CLASSIC;
  hfdcan1.Init.Mode = FDCAN_MODE_NORMAL;
  hfdcan1.Init.AutoRetransmission = DISABLE;
  hfdcan1.Init.TransmitPause = DISABLE;
  hfdcan1.Init.ProtocolException = DISABLE;
  hfdcan1.Init.NominalPrescaler = 1;
  hfdcan1.Init.NominalSyncJumpWidth = 1;
  hfdcan1.Init.NominalTimeSeg1 = 2;
  hfdcan1.Init.NominalTimeSeg2 = 2;
  hfdcan1.Init.DataPrescaler = 1;
  hfdcan1.Init.DataSyncJumpWidth = 1;
  hfdcan1.Init.DataTimeSeg1 = 1;
  hfdcan1.Init.DataTimeSeg2 = 1;
  hfdcan1.Init.StdFiltersNbr = 0;
  hfdcan1.Init.ExtFiltersNbr = 0;
  hfdcan1.Init.TxFifoQueueMode = FDCAN_TX_FIFO_OPERATION;
  if (HAL_FDCAN_Init(&hfdcan1) != HAL_OK)
  {
    Error_Handler();
  }

}

static void MX_OPAMP1_Init(void)
{

  hopamp1.Instance = OPAMP1;
  hopamp1.Init.PowerMode = OPAMP_POWERMODE_NORMAL;
  hopamp1.Init.Mode = OPAMP_PGA_MODE;
  hopamp1.Init.NonInvertingInput = OPAMP_NONINVERTINGINPUT_IO0;
  hopamp1.Init.InternalOutput = ENABLE;
  hopamp1.Init.TimerControlledMuxmode = OPAMP_TIMERCONTROLLEDMUXMODE_DISABLE;
  hopamp1.Init.PgaConnect = OPAMP_PGA_CONNECT_INVERTINGINPUT_IO0_BIAS;
  hopamp1.Init.PgaGain = OPAMP_PGA_GAIN_16_OR_MINUS_15;
  hopamp1.Init.UserTrimming = OPAMP_TRIMMING_FACTORY;
  if (HAL_OPAMP_Init(&hopamp1) != HAL_OK)
  {
    Error_Handler();
  }

}

static void MX_OPAMP2_Init(void)
{

  hopamp2.Instance = OPAMP2;
  hopamp2.Init.PowerMode = OPAMP_POWERMODE_NORMAL;
  hopamp2.Init.Mode = OPAMP_PGA_MODE;
  hopamp2.Init.NonInvertingInput = OPAMP_NONINVERTINGINPUT_IO0;
  hopamp2.Init.InternalOutput = ENABLE;
  hopamp2.Init.TimerControlledMuxmode = OPAMP_TIMERCONTROLLEDMUXMODE_DISABLE;
  hopamp2.Init.PgaConnect = OPAMP_PGA_CONNECT_INVERTINGINPUT_IO0_BIAS;
  hopamp2.Init.PgaGain = OPAMP_PGA_GAIN_16_OR_MINUS_15;
  hopamp2.Init.UserTrimming = OPAMP_TRIMMING_FACTORY;
  if (HAL_OPAMP_Init(&hopamp2) != HAL_OK)
  {
    Error_Handler();
  }

}

static void MX_OPAMP3_Init(void)
{

  hopamp3.Instance = OPAMP3;
  hopamp3.Init.PowerMode = OPAMP_POWERMODE_NORMAL;
  hopamp3.Init.Mode = OPAMP_PGA_MODE;
  hopamp3.Init.NonInvertingInput = OPAMP_NONINVERTINGINPUT_IO0;
  hopamp3.Init.InternalOutput = ENABLE;
  hopamp3.Init.TimerControlledMuxmode = OPAMP_TIMERCONTROLLEDMUXMODE_DISABLE;
  hopamp3.Init.PgaConnect = OPAMP_PGA_CONNECT_INVERTINGINPUT_IO0_BIAS;
  hopamp3.Init.PgaGain = OPAMP_PGA_GAIN_16_OR_MINUS_15;
  hopamp3.Init.UserTrimming = OPAMP_TRIMMING_FACTORY;
  if (HAL_OPAMP_Init(&hopamp3) != HAL_OK)
  {
    Error_Handler();
  }

}

static void MX_TIM1_Init(void)
{

  TIM_ClockConfigTypeDef sClockSourceConfig = {0};
  TIM_MasterConfigTypeDef sMasterConfig = {0};
  TIM_OC_InitTypeDef sConfigOC = {0};
  TIM_BreakDeadTimeConfigTypeDef sBreakDeadTimeConfig = {0};

  htim1.Instance = TIM1;
  htim1.Init.Prescaler = 0;
  htim1.Init.CounterMode = TIM_COUNTERMODE_CENTERALIGNED1;
  htim1.Init.Period = 3749;
  htim1.Init.ClockDivision = TIM_CLOCKDIVISION_DIV1;
  htim1.Init.RepetitionCounter = 0;
  htim1.Init.AutoReloadPreload = TIM_AUTORELOAD_PRELOAD_DISABLE;
  if (HAL_TIM_Base_Init(&htim1) != HAL_OK)
  {
    Error_Handler();
  }
  sClockSourceConfig.ClockSource = TIM_CLOCKSOURCE_INTERNAL;
  if (HAL_TIM_ConfigClockSource(&htim1, &sClockSourceConfig) != HAL_OK)
  {
    Error_Handler();
  }
  if (HAL_TIM_PWM_Init(&htim1) != HAL_OK)
  {
    Error_Handler();
  }
  sMasterConfig.MasterOutputTrigger = TIM_TRGO_UPDATE;
  sMasterConfig.MasterOutputTrigger2 = TIM_TRGO2_RESET;
  sMasterConfig.MasterSlaveMode = TIM_MASTERSLAVEMODE_DISABLE;
  if (HAL_TIMEx_MasterConfigSynchronization(&htim1, &sMasterConfig) != HAL_OK)
  {
    Error_Handler();
  }
  sConfigOC.OCMode = TIM_OCMODE_PWM1;
  sConfigOC.Pulse = 0;
  sConfigOC.OCPolarity = TIM_OCPOLARITY_HIGH;
  sConfigOC.OCNPolarity = TIM_OCNPOLARITY_HIGH;
  sConfigOC.OCFastMode = TIM_OCFAST_DISABLE;
  sConfigOC.OCIdleState = TIM_OCIDLESTATE_RESET;
  sConfigOC.OCNIdleState = TIM_OCNIDLESTATE_RESET;
  if (HAL_TIM_PWM_ConfigChannel(&htim1, &sConfigOC, TIM_CHANNEL_1) != HAL_OK)
  {
    Error_Handler();
  }
  sConfigOC.Pulse = 0;
  if (HAL_TIM_PWM_ConfigChannel(&htim1, &sConfigOC, TIM_CHANNEL_2) != HAL_OK)
  {
    Error_Handler();
  }
  sConfigOC.Pulse = 0;
  if (HAL_TIM_PWM_ConfigChannel(&htim1, &sConfigOC, TIM_CHANNEL_3) != HAL_OK)
  {
    Error_Handler();
  }
  sBreakDeadTimeConfig.OffStateRunMode = TIM_OSSR_DISABLE;
  sBreakDeadTimeConfig.OffStateIDLEMode = TIM_OSSI_DISABLE;
  sBreakDeadTimeConfig.LockLevel = TIM_LOCKLEVEL_OFF;
  sBreakDeadTimeConfig.DeadTime = 128;
  sBreakDeadTimeConfig.BreakState = TIM_BREAK_DISABLE;
  sBreakDeadTimeConfig.BreakPolarity = TIM_BREAKPOLARITY_HIGH;
  sBreakDeadTimeConfig.BreakFilter = 0;
  sBreakDeadTimeConfig.BreakAFMode = TIM_BREAK_AFMODE_INPUT;
  sBreakDeadTimeConfig.Break2State = TIM_BREAK2_DISABLE;
  sBreakDeadTimeConfig.Break2Polarity = TIM_BREAK2POLARITY_HIGH;
  sBreakDeadTimeConfig.Break2Filter = 0;
  sBreakDeadTimeConfig.Break2AFMode = TIM_BREAK_AFMODE_INPUT;
  sBreakDeadTimeConfig.AutomaticOutput = TIM_AUTOMATICOUTPUT_DISABLE;
  if (HAL_TIMEx_ConfigBreakDeadTime(&htim1, &sBreakDeadTimeConfig) != HAL_OK)
  {
    Error_Handler();
  }
  HAL_TIM_MspPostInit(&htim1);

}

static void MX_TIM4_Init(void)
{

  TIM_SlaveConfigTypeDef sSlaveConfig = {0};
  TIM_IC_InitTypeDef sConfigIC = {0};
  TIM_MasterConfigTypeDef sMasterConfig = {0};

  htim4.Instance = TIM4;
  htim4.Init.Prescaler = 2;
  htim4.Init.CounterMode = TIM_COUNTERMODE_UP;
  htim4.Init.Period = 65535;
  htim4.Init.ClockDivision = TIM_CLOCKDIVISION_DIV1;
  htim4.Init.AutoReloadPreload = TIM_AUTORELOAD_PRELOAD_DISABLE;
  if (HAL_TIM_IC_Init(&htim4) != HAL_OK)
  {
    Error_Handler();
  }
  sSlaveConfig.SlaveMode = TIM_SLAVEMODE_RESET;
  sSlaveConfig.InputTrigger = TIM_TS_TI1FP1;
  sSlaveConfig.TriggerPolarity = TIM_INPUTCHANNELPOLARITY_RISING;
  sSlaveConfig.TriggerPrescaler = TIM_ICPSC_DIV1;
  sSlaveConfig.TriggerFilter = 0;
  if (HAL_TIM_SlaveConfigSynchro(&htim4, &sSlaveConfig) != HAL_OK)
  {
    Error_Handler();
  }
  sConfigIC.ICPolarity = TIM_INPUTCHANNELPOLARITY_RISING;
  sConfigIC.ICSelection = TIM_ICSELECTION_DIRECTTI;
  sConfigIC.ICPrescaler = TIM_ICPSC_DIV1;
  sConfigIC.ICFilter = 0;
  if (HAL_TIM_IC_ConfigChannel(&htim4, &sConfigIC, TIM_CHANNEL_1) != HAL_OK)
  {
    Error_Handler();
  }
  sConfigIC.ICPolarity = TIM_INPUTCHANNELPOLARITY_FALLING;
  sConfigIC.ICSelection = TIM_ICSELECTION_INDIRECTTI;
  if (HAL_TIM_IC_ConfigChannel(&htim4, &sConfigIC, TIM_CHANNEL_2) != HAL_OK)
  {
    Error_Handler();
  }
  sMasterConfig.MasterOutputTrigger = TIM_TRGO_RESET;
  sMasterConfig.MasterSlaveMode = TIM_MASTERSLAVEMODE_DISABLE;
  if (HAL_TIMEx_MasterConfigSynchronization(&htim4, &sMasterConfig) != HAL_OK)
  {
    Error_Handler();
  }

}

static void MX_TIM6_Init(void)
{

  TIM_MasterConfigTypeDef sMasterConfig = {0};

  htim6.Instance = TIM6;
  htim6.Init.Prescaler = 149;
  htim6.Init.CounterMode = TIM_COUNTERMODE_UP;
  htim6.Init.Period = 65535;
  htim6.Init.AutoReloadPreload = TIM_AUTORELOAD_PRELOAD_DISABLE;
  if (HAL_TIM_Base_Init(&htim6) != HAL_OK)
  {
    Error_Handler();
  }
  sMasterConfig.MasterOutputTrigger = TIM_TRGO_RESET;
  sMasterConfig.MasterSlaveMode = TIM_MASTERSLAVEMODE_DISABLE;
  if (HAL_TIMEx_MasterConfigSynchronization(&htim6, &sMasterConfig) != HAL_OK)
  {
    Error_Handler();
  }

}

static void MX_USART2_UART_Init(void)
{

  huart2.Instance = USART2;
  huart2.Init.BaudRate = 1000000;
  huart2.Init.WordLength = UART_WORDLENGTH_8B;
  huart2.Init.StopBits = UART_STOPBITS_1;
  huart2.Init.Parity = UART_PARITY_NONE;
  huart2.Init.Mode = UART_MODE_TX_RX;
  huart2.Init.HwFlowCtl = UART_HWCONTROL_NONE;
  huart2.Init.OverSampling = UART_OVERSAMPLING_16;
  huart2.Init.OneBitSampling = UART_ONE_BIT_SAMPLE_DISABLE;
  huart2.Init.ClockPrescaler = UART_PRESCALER_DIV1;
  huart2.AdvancedInit.AdvFeatureInit = UART_ADVFEATURE_NO_INIT;
  if (HAL_UART_Init(&huart2) != HAL_OK)
  {
    Error_Handler();
  }
  if (HAL_UARTEx_SetTxFifoThreshold(&huart2, UART_TXFIFO_THRESHOLD_1_8) != HAL_OK)
  {
    Error_Handler();
  }
  if (HAL_UARTEx_SetRxFifoThreshold(&huart2, UART_RXFIFO_THRESHOLD_1_8) != HAL_OK)
  {
    Error_Handler();
  }
  if (HAL_UARTEx_DisableFifoMode(&huart2) != HAL_OK)
  {
    Error_Handler();
  }

}

static void MX_DMA_Init(void)
{

  /* DMA controller clock enable */
  __HAL_RCC_DMAMUX1_CLK_ENABLE();
  __HAL_RCC_DMA1_CLK_ENABLE();

  /* DMA interrupt init */
  /* DMA1_Channel1_IRQn interrupt configuration */
  HAL_NVIC_SetPriority(DMA1_Channel1_IRQn, 0, 0);
  HAL_NVIC_EnableIRQ(DMA1_Channel1_IRQn);
  /* DMA1_Channel2_IRQn interrupt configuration */
  HAL_NVIC_SetPriority(DMA1_Channel2_IRQn, 0, 0);
  HAL_NVIC_EnableIRQ(DMA1_Channel2_IRQn);
  /* DMA1_Channel3_IRQn interrupt configuration */
  HAL_NVIC_SetPriority(DMA1_Channel3_IRQn, 0, 0);
  HAL_NVIC_EnableIRQ(DMA1_Channel3_IRQn);
  /* DMA1_Channel4_IRQn interrupt configuration */
  HAL_NVIC_SetPriority(DMA1_Channel4_IRQn, 0, 0);
  HAL_NVIC_EnableIRQ(DMA1_Channel4_IRQn);

}

static void MX_GPIO_Init(void)
{
  GPIO_InitTypeDef GPIO_InitStruct = {0};

  /* GPIO Ports Clock Enable */
  __HAL_RCC_GPIOC_CLK_ENABLE();
  __HAL_RCC_GPIOF_CLK_ENABLE();
  __HAL_RCC_GPIOA_CLK_ENABLE();
  __HAL_RCC_GPIOB_CLK_ENABLE();

  /*Configure GPIO pin Output Level */
  HAL_GPIO_WritePin(GPIOC, CAN_TERM_Pin|STATUS_Pin|CAN_SHDN_Pin, GPIO_PIN_RESET);

  /*Configure GPIO pins : CAN_TERM_Pin STATUS_Pin CAN_SHDN_Pin */
  GPIO_InitStruct.Pin = CAN_TERM_Pin|STATUS_Pin|CAN_SHDN_Pin;
  GPIO_InitStruct.Mode = GPIO_MODE_OUTPUT_PP;
  GPIO_InitStruct.Pull = GPIO_NOPULL;
  GPIO_InitStruct.Speed = GPIO_SPEED_FREQ_LOW;
  HAL_GPIO_Init(GPIOC, &GPIO_InitStruct);

}

void Error_Handler(void)
{
  __disable_irq();
  while (1)
  {
  }
}

/************************ (C) COPYRIGHT STMicroelectronics *****END OF FILE****/
